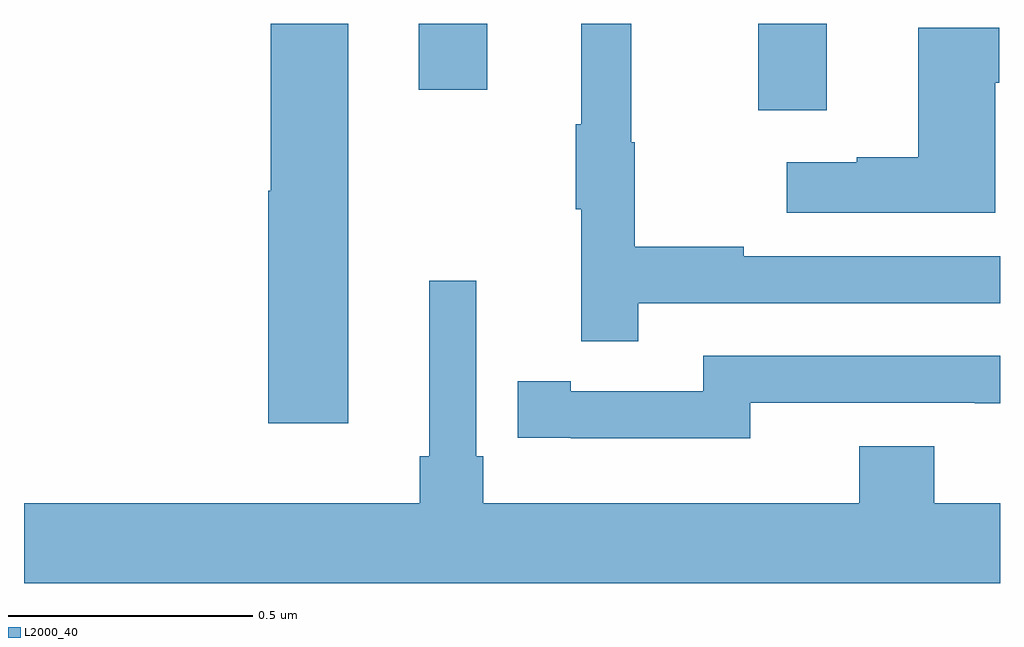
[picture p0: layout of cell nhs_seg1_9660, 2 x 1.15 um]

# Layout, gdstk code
import gdstk
lib = gdstk.Library(unit=1e-6, precision=1e-09)
def R(c, l, rs):  # rectangles x0, y0, x1, y1
    for r in rs: c.add(gdstk.rectangle(r[:2], r[2:], *l))
def P(c, l, *ps):  # polygons
    for p in ps: c.add(gdstk.Polygon(p, *l))
L2000_40 = (2000, 40)

nhs_seg1_9660 = lib.new_cell('nhs_seg1_9660')
R(nhs_seg1_9660, L2000_40, [(232.505,566.022,232.645,566.199), (231.809,566.064,231.949,566.199)])
P(nhs_seg1_9660, L2000_40, [(232.259,565.626),(233,565.626),(233,565.722),(232.475,565.722),(232.475,565.742),(232.252,565.742),(232.252,565.956),(232.244,565.956),(232.244,566.199),(232.142,566.199),(232.142,565.993),(232.131,565.993),(232.131,565.819),(232.142,565.819),(232.142,565.548),(232.259,565.548)],
  [(231.664,566.199),(231.506,566.199),(231.506,565.857),(231.5,565.857),(231.5,565.38),(231.664,565.38)],
  [(232.99,566.078),(232.998,566.078),(232.998,566.191),(232.832,566.191),(232.832,565.925),(232.706,565.925),(232.706,565.915),(232.563,565.915),(232.563,565.811),(232.99,565.811)],
  [(233,565.216),(232.865,565.216),(232.865,565.333),(232.712,565.333),(232.712,565.216),(231.941,565.216),(231.941,565.312),(231.927,565.312),(231.927,565.672),(231.83,565.672),(231.83,565.312),(231.811,565.312),(231.811,565.216),(231,565.216),(231,565.052),(233,565.052)],
  [(232.488,565.422),(232.948,565.422),(232.948,565.421),(233,565.421),(233,565.518),(232.392,565.518),(232.392,565.446),(232.12,565.446),(232.12,565.466),(232.012,565.466),(232.012,565.35),(232.12,565.35),(232.12,565.349),(232.488,565.349)])

lib.write_gds('nhs_seg1_9660.gds')
